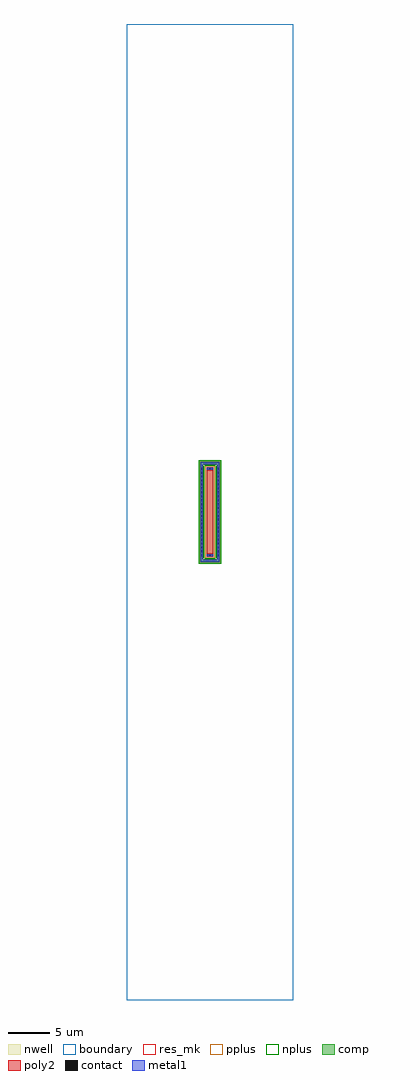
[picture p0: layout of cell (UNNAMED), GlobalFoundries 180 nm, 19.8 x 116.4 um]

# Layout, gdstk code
import gdstk
lib = gdstk.Library(unit=1e-6, precision=1e-09)
def R(c, l, rs):  # rectangles x0, y0, x1, y1
    for r in rs: c.add(gdstk.rectangle(r[:2], r[2:], *l))
def A(c, l, x, y, w, h, nx, ny, dx, dy):  # array of equal rectangles
    R(c, l, [(x+i*dx, y+j*dy, x+i*dx+w, y+j*dy+h) for i in range(nx) for j in range(ny)])
boundary = (0, 0)
nwell = (21, 0)
comp = (22, 0)
poly2 = (30, 0)
pplus = (31, 0)
nplus = (32, 0)
contact = (33, 0)
metal1 = (34, 0)
res_mk = (110, 5)

c__unnamed_ = lib.new_cell('(UNNAMED)')
R(c__unnamed_, boundary, [(-9.9,-58.2,9.9,58.2)])
R(c__unnamed_, nwell, [(-1.29,-6.12,1.29,6.12)])
R(c__unnamed_, comp, [(-1.17,-6,1.17,-5.64), (-1.17,-5.64,-0.81,5.64), (0.81,-5.64,1.17,5.64), (-1.17,5.64,1.17,6)])
R(c__unnamed_, poly2, [(-0.4,-5.36,0.4,5.36)])
R(c__unnamed_, pplus, [(-0.58,-5.54,0.58,5.54)])
R(c__unnamed_, nplus, [(-1.33,-6.16,1.33,-5.53), (-1.33,-5.53,-0.7,5.53), (0.7,-5.53,1.33,5.53), (-1.33,5.53,1.33,6.16)])
A(c__unnamed_, contact, -1.1, -5.28, 0.22, 0.22, 1, 23, 0, 0.47)
A(c__unnamed_, contact, 0.88, -5.28, 0.22, 0.22, 1, 23, 0, 0.47)
R(c__unnamed_, contact, [(-0.11,-5.29,0.11,-5.07), (-0.11,5.07,0.11,5.29)])
R(c__unnamed_, metal1, [(-1.105,-5.935,1.105,-5.705), (-1.105,-5.705,-0.875,5.705), (0.875,-5.705,1.105,5.705), (-0.39,-5.295,0.39,-5.065), (-0.39,5.065,0.39,5.295), (-1.105,5.705,1.105,5.935)])
R(c__unnamed_, res_mk, [(-0.4,-5,0.4,5)])

lib.write_gds('_UNNAMED_.gds')
